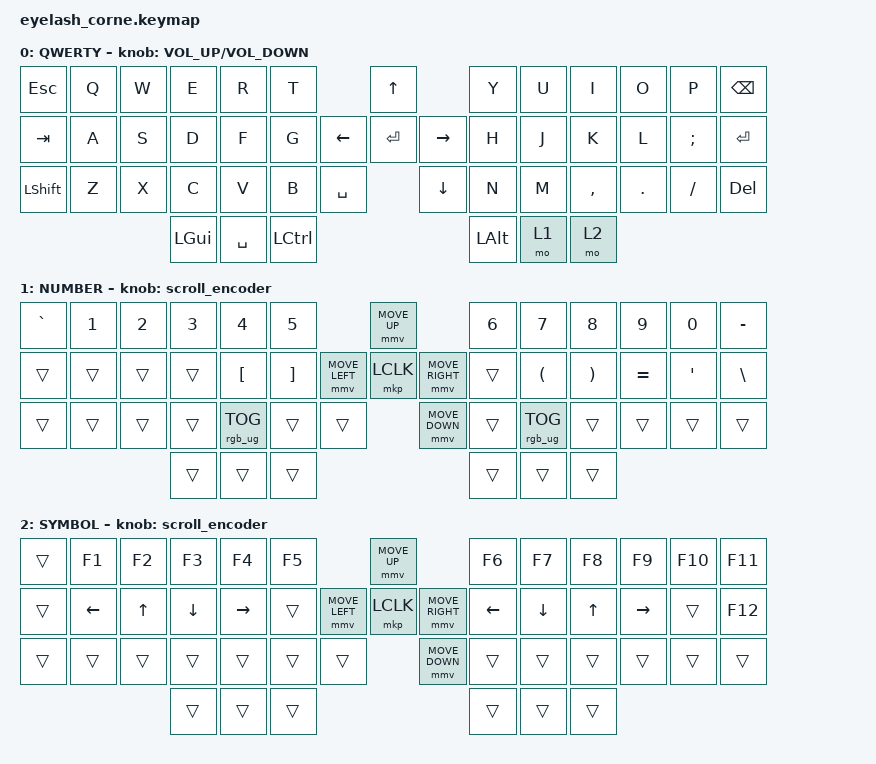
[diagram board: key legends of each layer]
#define ZMK_POINTING_DEFAULT_MOVE_VAL 1200  // 600
#define ZMK_POINTING_DEFAULT_SCRL_VAL 25   // 10

#include <input/processors.dtsi>
#include <zephyr/dt-bindings/input/input-event-codes.h>
#include <behaviors.dtsi>
#include <dt-bindings/zmk/keys.h>
#include <dt-bindings/zmk/pointing.h>
#include <dt-bindings/zmk/rgb.h>

&mmv_input_listener { input-processors = <&zip_xy_scaler 2 1>; };

&msc_input_listener { input-processors = <&zip_scroll_scaler 2 1>; };

&msc {
    acceleration-exponent = <1>;      // 0
    time-to-max-speed-ms = <100>;       // 300
    delay-ms = <0>;                   // 0
};

&mmv {
    time-to-max-speed-ms = <500>;
    acceleration-exponent = <1>;
    trigger-period-ms = <16>;
};

/ {
    behaviors {
        td0: td0 {
            compatible = "zmk,behavior-tap-dance";
            display-name = "Shift/Caps Lock Tap Dance";
            #binding-cells = <0>;
            bindings = <&kp LEFT_SHIFT>, <&kp CAPS>;
        };
    };

    rgb_encoder: rgb_encoder {
        compatible = "zmk,behavior-sensor-rotate";
        #sensor-binding-cells = <0>;
        bindings = <&rgb_ug RGB_BRI>, <&rgb_ug RGB_BRD>;
    };

    scroll_encoder: scroll_encoder {
        compatible = "zmk,behavior-sensor-rotate";
        #sensor-binding-cells = <0>;
        bindings = <&msc SCRL_DOWN>, <&msc SCRL_UP>;

        tap-ms = <100>;
    };

    keymap {
        compatible = "zmk,keymap";

        default_layer {
            display-name = "QWERTY";
            bindings = <
&kp ESCAPE      &kp Q  &kp W  &kp E         &kp R      &kp T                                    &kp UP                &kp Y         &kp U  &kp I      &kp O    &kp P     &kp BACKSPACE
&kp TAB         &kp A  &kp S  &kp D         &kp F      &kp G                          &kp LEFT  &kp ENTER  &kp RIGHT  &kp H         &kp J  &kp K      &kp L    &kp SEMI  &kp ENTER
&kp LEFT_SHIFT  &kp Z  &kp X  &kp C         &kp V      &kp B             &kp SPACE              &kp DOWN              &kp N         &kp M  &kp COMMA  &kp DOT  &kp FSLH  &kp DELETE
                              &kp LEFT_GUI  &kp SPACE  &kp LEFT_CONTROL                                               &kp LEFT_ALT  &mo 1  &mo 2
            >;

            sensor-bindings = <&inc_dec_kp C_VOLUME_UP C_VOLUME_DOWN>;
        };

        lower_layer {
            display-name = "NUMBER";
            bindings = <
&kp GRAVE  &kp NUMBER_1  &kp NUMBER_2  &kp NUMBER_3  &kp NUMBER_4      &kp N5                                       &mmv MOVE_UP                     &kp NUMBER_6  &kp N7                &kp N8                 &kp N9     &kp N0            &kp MINUS
&trans     &trans        &trans        &trans        &kp LEFT_BRACKET  &kp RIGHT_BRACKET            &mmv MOVE_LEFT  &mkp LCLK       &mmv MOVE_RIGHT  &trans        &kp LEFT_PARENTHESIS  &kp RIGHT_PARENTHESIS  &kp EQUAL  &kp SINGLE_QUOTE  &kp BACKSLASH
&trans     &trans        &trans        &trans        &rgb_ug RGB_TOG   &trans             &trans                    &mmv MOVE_DOWN                   &trans        &rgb_ug RGB_TOG       &trans                 &trans     &trans            &trans
                                       &trans        &trans            &trans                                                                        &trans        &trans                &trans
            >;

            sensor-bindings = <&scroll_encoder>;
        };

        raise_layer {
            display-name = "SYMBOL";
            bindings = <
&trans  &kp F1    &kp F2        &kp F3          &kp F4     &kp F5                            &mmv MOVE_UP                     &kp F6          &kp F7          &kp F8        &kp F9           &kp F10  &kp F11
&trans  &kp LEFT  &kp UP_ARROW  &kp DOWN_ARROW  &kp RIGHT  &trans            &mmv MOVE_LEFT  &mkp LCLK       &mmv MOVE_RIGHT  &kp LEFT_ARROW  &kp DOWN_ARROW  &kp UP_ARROW  &kp RIGHT_ARROW  &trans   &kp F12
&trans  &trans    &trans        &trans          &trans     &trans  &trans                    &mmv MOVE_DOWN                   &trans          &trans          &trans        &trans           &trans   &trans
                                &trans          &trans     &trans                                                             &trans          &trans          &trans
            >;

            sensor-bindings = <&scroll_encoder>;
        };
    };
};
